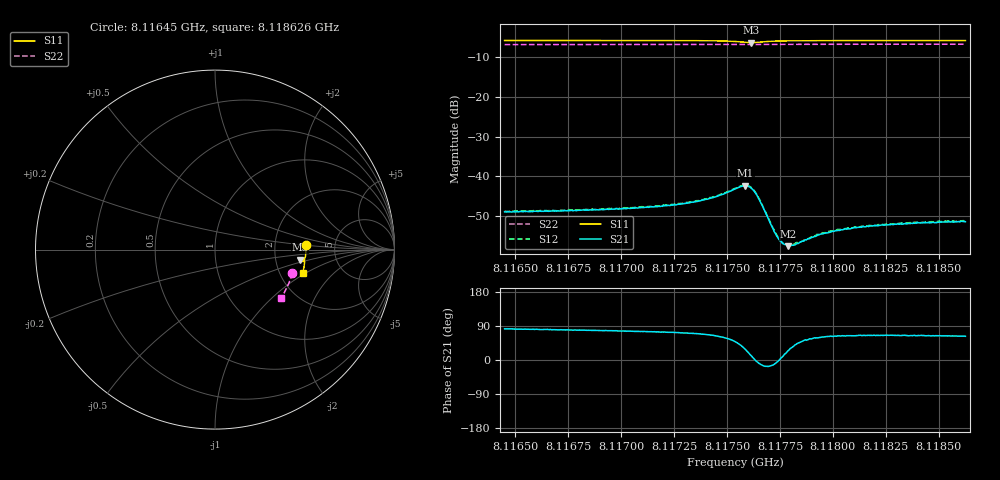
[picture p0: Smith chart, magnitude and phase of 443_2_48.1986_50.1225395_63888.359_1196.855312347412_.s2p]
#  HZ  S  RI  R  50.00
! Rohde & Schwarz Vector Network Analyzer
! Rohde-Schwarz,ZNB20-2Port,1311601062101988,3.16
! Created: UTC 3/20/2024, 11:55:55 AM
! freq[Hz]  re:S11  im:S11  re:S21  im:S21  re:S12  im:S12  re:S22  im:S22
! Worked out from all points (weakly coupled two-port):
!   401 points, 8.11645 GHz to 8.118626 GHz, reference 50 ohm
!   highest |S21| = -42.33 dB at 8.117587 GHz (marker M1); lowest = -57.5 dB at 8.117788 GHz (marker M2)
!   lowest |S11| = -6.4 dB at 8.117614 GHz (marker M3), VSWR 2.82, Z = 138 - j19.8 ohm
!   |S11| at or under -10 dB: nowhere
!   |S22| runs from -6.9 to -6.8 dB; largest |S21 - S12| = 0.0002
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8.1164497e9  0.5066 0.0252  0.000492 0.00356  0.000592 0.00363  0.4303 -0.1316
8.1168143e9  0.5067 -0.00243  0.000735 0.00371  0.000815 0.00379  0.4232 -0.156
8.1171788e9  0.5047 -0.0315  0.00117 0.00405  0.00122 0.00412  0.4145 -0.18
8.1173094e9  0.5029 -0.0428  0.00148 0.00437  0.00156 0.00447  0.4112 -0.1885
8.1174019e9  0.5004 -0.0518  0.002 0.00477  0.00209 0.0048  0.4085 -0.1944
8.1174672e9  0.497 -0.0587  0.00274 0.00515  0.00284 0.00522  0.4066 -0.1987
8.117538e9  0.4882 -0.0658  0.00461 0.00523  0.00471 0.00532  0.4041 -0.2032
8.1175869e9  0.4768 -0.0633  0.00676 0.00357  0.00694 0.0036  0.4021 -0.2059
8.1176141e9  0.4738 -0.0555  0.007 0.00143  0.00719 0.0014  0.4015 -0.2073
8.1176305e9  0.4756 -0.0506  0.00642 0.000157  0.00657 0.000123  0.4011 -0.208
8.1176522e9  0.4809 -0.0467  0.00509 -0.000829  0.00516 -0.00089  0.4008 -0.2093
8.1177175e9  0.4939 -0.051  0.00215 -0.000506  0.00219 -0.000532  0.3995 -0.2135
8.1177393e9  0.4959 -0.0541  0.00172 -0.000131  0.00176 -0.000152  0.3988 -0.2149
8.1177611e9  0.4973 -0.0569  0.00144 0.000203  0.00147 0.000204  0.3985 -0.2163
8.1177883e9  0.4983 -0.0604  0.00122 0.000552  0.00125 0.000587  0.3974 -0.2181
8.1178046e9  0.4986 -0.0622  0.00116 0.000724  0.00119 0.000729  0.3969 -0.2193
8.1178264e9  0.4989 -0.0648  0.00106 0.000936  0.00111 0.000961  0.3963 -0.2206
8.1179025e9  0.499 -0.0726  0.000955 0.00144  0.000986 0.00143  0.3939 -0.2255
8.1180168e9  0.4982 -0.0828  0.000966 0.00186  0.000993 0.00188  0.3901 -0.2325
8.1181093e9  0.497 -0.0905  0.000991 0.00205  0.000988 0.00211  0.3869 -0.2382
8.1182671e9  0.4948 -0.1029  0.00105 0.00225  0.00108 0.00227  0.3814 -0.248
8.1186262e9  0.4881 -0.1297  0.00125 0.0024  0.00129 0.00245  0.368 -0.2693
